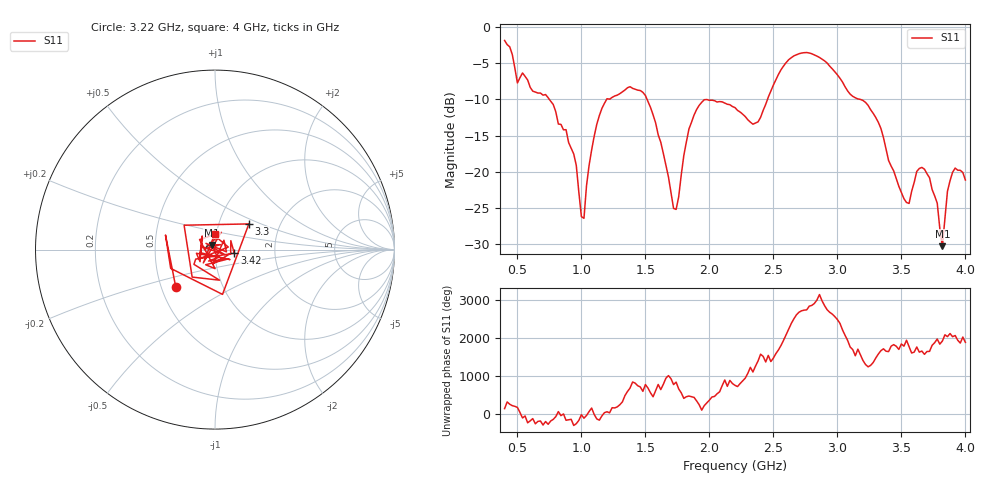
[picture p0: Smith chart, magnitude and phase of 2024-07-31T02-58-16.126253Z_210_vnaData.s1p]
!Created with skrf (http://scikit-rf.org).
# Hz S RI R 50.0
!freq ReS11 ImS11
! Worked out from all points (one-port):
!   181 points, 400 MHz to 4 GHz, reference 50 ohm
!   lowest |S11| = -30.3 dB at 3.82 GHz (marker M1), VSWR 1.06, Z = 48.3 + j2.49 ohm
!   |S11| at or under -10 dB: 749.9 MHz to 1.197 GHz (447.1 MHz wide, 45.9 % of centre); 1.513 GHz to 2.454 GHz (940.4 MHz wide, 47.4 % of centre); 3.18 GHz to end of sweep
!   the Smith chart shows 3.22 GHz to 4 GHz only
!   S11 on the Smith chart (normalised r, x): 3.22 GHz: 0.59, -0.27; 3.3 GHz: 1.39, +0.42; 3.42 GHz: 1.24, -0.05; 4 GHz: 0.98, +0.17
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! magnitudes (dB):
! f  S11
! 400 MHz  -1.8
! 500 MHz  -7.7
! 720 MHz  -9.3
! 860 MHz  -14.2
! 940 MHz  -17.5
! 1.02 GHz  -26.4
! 1.12 GHz  -13.5
! 1.3 GHz  -9.2
! 1.5 GHz  -9.5
! 1.72 GHz  -25.1
! 1.76 GHz  -23.5
! 1.84 GHz  -14.1
! 1.92 GHz  -10.8
! 2.2 GHz  -11.1
! 2.38 GHz  -13.1
! 2.66 GHz  -4.0
! 2.9 GHz  -4.7
! 3.1 GHz  -9.3
! 3.22 GHz  -10.4
! 3.3 GHz  -12.5
! 3.42 GHz  -19.2
! 3.56 GHz  -24.4
! 3.68 GHz  -19.7
! 3.78 GHz  -24.3
! 3.82 GHz  -30.3
! 3.86 GHz  -22.7
! 3.9 GHz  -20.1
! 4 GHz  -21.1
